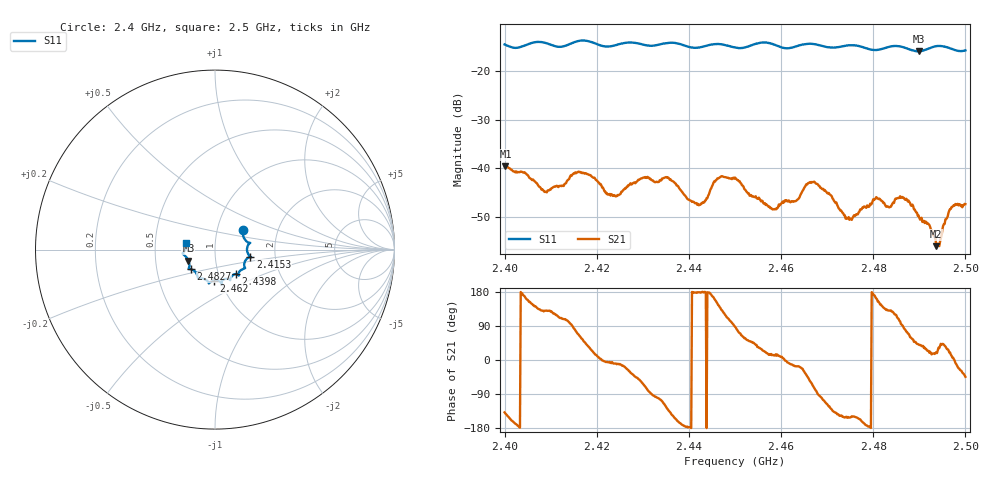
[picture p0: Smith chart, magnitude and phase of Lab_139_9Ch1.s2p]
# Hz S RI R 50
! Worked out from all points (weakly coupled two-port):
!   601 points, 2.4 GHz to 2.5 GHz, reference 50 ohm
!   highest |S21| = -39.58 dB at 2.4002 GHz (marker M1); lowest = -56.1 dB at 2.4937 GHz (marker M2)
!   lowest |S11| = -15.9 dB at 2.4898 GHz (marker M3), VSWR 1.38, Z = 36.9 - j4.61 ohm
!   |S11| at or under -10 dB: start of sweep to end of sweep
!   S12 and S22 are empty: the file has one direction only
!   S11 on the Smith chart (normalised r, x): 2.4 GHz: 1.33, +0.29; 2.4153 GHz: 1.48, -0.12; 2.4398 GHz: 1.21, -0.34; 2.462 GHz: 0.93, -0.33; 2.4827 GHz: 0.75, -0.17; 2.5 GHz: 0.72, +0.06
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2.4e9  0.1552 0.1065  -0.00781 -0.00696  0 0  0 0
2.400167e9  0.1548 0.1041  -0.00819 -0.00657  0 0  0 0
2.408833e9  0.1925 0.0351  -0.0037 0.00437  0 0  0 0
2.415333e9  0.1964 -0.0389  0.00179 0.00888  0 0  0 0
2.416667e9  0.2024 -0.043  0.00496 0.00759  0 0  0 0
2.423833e9  0.1624 -0.0857  0.00522 -0.000844  0 0  0 0
2.433333e9  0.1309 -0.1335  -0.00131 -0.00709  0 0  0 0
2.439833e9  0.1156 -0.1359  -0.00476 -0.000172  0 0  0 0
2.442667e9  0.0909 -0.152  -0.00433 0.00013  0 0  0 0
2.446333e9  0.0851 -0.1704  -0.00643 0.00445  0 0  0 0
2.45e9  0.0655 -0.1625  0.000311 0.008  0 0  0 0
2.458167e9  0.0366 -0.1868  0.00365 0.000882  0 0  0 0
2.462e9  -0.00518 -0.1731  0.00438 -0.000822  0 0  0 0
2.466667e9  -0.0345 -0.1881  0.00336 -0.00638  0 0  0 0
2.4745e9  -0.0909 -0.1604  -0.00264 -0.00151  0 0  0 0
2.482667e9  -0.1352 -0.109  -0.00286 0.00295  0 0  0 0
2.483333e9  -0.1403 -0.1088  -0.00258 0.00302  0 0  0 0
2.486333e9  -0.1451 -0.1023  -0.000122 0.00505  0 0  0 0
2.489833e9  -0.1479 -0.0609  0.00246 0.00214  0 0  0 0
2.493667e9  -0.1793 -0.0237  0.00147 0.000557  0 0  0 0
2.497e9  -0.1698 -0.00764  0.0039 0.000772  0 0  0 0
2.5e9  -0.1591 0.0386  0.00305 -0.00298  0 0  0 0
